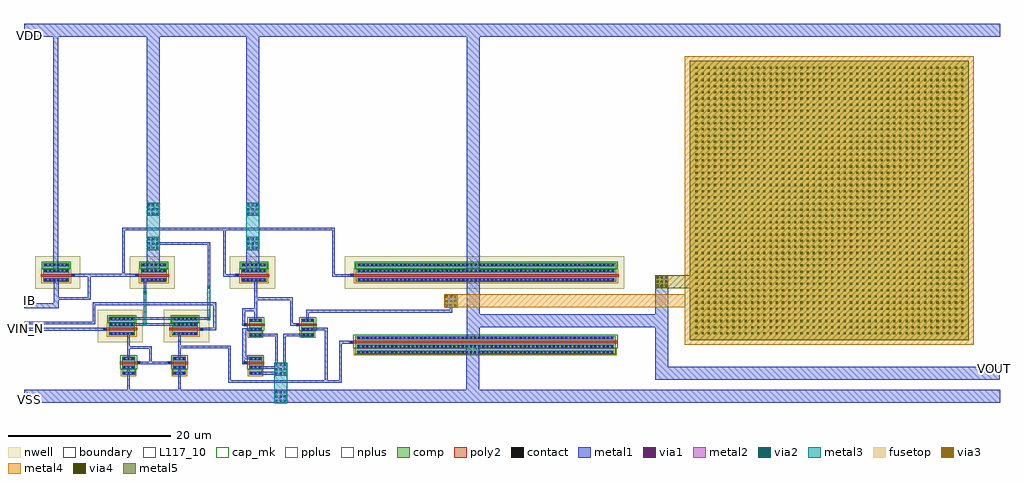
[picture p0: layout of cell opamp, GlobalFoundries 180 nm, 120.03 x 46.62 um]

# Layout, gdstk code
from math import pi, radians
import gdstk
lib = gdstk.Library(unit=1e-6, precision=1e-09)
def R(c, l, rs):  # rectangles x0, y0, x1, y1
    for r in rs: c.add(gdstk.rectangle(r[:2], r[2:], *l))
def A(c, l, x, y, w, h, nx, ny, dx, dy):  # array of equal rectangles
    R(c, l, [(x+i*dx, y+j*dy, x+i*dx+w, y+j*dy+h) for i in range(nx) for j in range(ny)])
def P(c, l, *ps):  # polygons
    for p in ps: c.add(gdstk.Polygon(p, *l))
boundary = (0, 0)
nwell = (21, 0)
comp = (22, 0)
poly2 = (30, 0)
pplus = (31, 0)
nplus = (32, 0)
contact = (33, 0)
metal1 = (34, 0)
via1 = (35, 0)
metal2 = (36, 0)
via2 = (38, 0)
via3 = (40, 0)
via4 = (41, 0)
metal3 = (42, 0)
metal4 = (46, 0)
fusetop = (75, 0)
metal5 = (81, 0)
cap_mk = (117, 5)
L117_10 = (117, 10)

cap_mim = lib.new_cell('cap_mim')
A(cap_mim, via4, 0.69, 0.69, 0.26, 0.26, 44, 44, 0.76, 0.76)
R(cap_mim, metal4, [(-0.6,-0.6,34.92,34.92)])
R(cap_mim, fusetop, [(0,0,34.32,34.32)])
R(cap_mim, metal5, [(0,0,34.32,34.32)])
R(cap_mim, cap_mk, [(-0.6,-0.6,34.92,34.92)])
R(cap_mim, L117_10, [(0,0,34.32,0.1)])

nfet_1 = lib.new_cell('nfet$1')
R(nfet_1, comp, [(-0.42,0,1.79,1.6)])
P(nfet_1, poly2, [(0.19,-0.3),(0.19,1.9),(0.15,1.9),(0.15,2.26),(0.51,2.26),(0.51,1.9),(0.47,1.9),(0.47,-0.3)])
R(nfet_1, pplus, [(1.08,-0.17,1.96,1.77)])
R(nfet_1, nplus, [(-0.59,-0.24,1.08,1.84)])
A(nfet_1, contact, -0.32, 0.18, 0.22, 0.22, 1, 3, 0, 0.51)
A(nfet_1, contact, 0.76, 0.18, 0.22, 0.22, 1, 3, 0, 0.51)
A(nfet_1, contact, 1.47, 0.18, 0.22, 0.22, 1, 3, 0, 0.51)
R(nfet_1, contact, [(0.22,1.97,0.44,2.19)])
R(nfet_1, metal1, [(-0.4,0.1,-0.02,1.5), (0.68,0.1,1.06,1.5), (1.39,0.1,1.77,1.5), (0.14,1.89,0.52,2.27)])

nfet_2 = lib.new_cell('nfet$2')
R(nfet_2, comp, [(-0.42,0,1.79,1.6)])
P(nfet_2, poly2, [(0.15,-0.66),(0.15,-0.3),(0.19,-0.3),(0.19,1.9),(0.47,1.9),(0.47,-0.3),(0.51,-0.3),(0.51,-0.66)])
R(nfet_2, pplus, [(1.08,-0.17,1.96,1.77)])
R(nfet_2, nplus, [(-0.59,-0.24,1.08,1.84)])
A(nfet_2, contact, -0.32, 0.18, 0.22, 0.22, 1, 3, 0, 0.51)
A(nfet_2, contact, 0.76, 0.18, 0.22, 0.22, 1, 3, 0, 0.51)
A(nfet_2, contact, 1.47, 0.18, 0.22, 0.22, 1, 3, 0, 0.51)
R(nfet_2, contact, [(0.22,-0.59,0.44,-0.37)])
R(nfet_2, metal1, [(0.14,-0.67,0.52,-0.29), (-0.4,0.1,-0.02,1.5), (0.68,0.1,1.06,1.5), (1.39,0.1,1.77,1.5)])

pfet_1 = lib.new_cell('pfet$1')
R(pfet_1, nwell, [(-1.32,-0.99,2.71,4.57)])
R(pfet_1, comp, [(-0.46,0,1.85,3.2)])
P(pfet_1, poly2, [(0.19,-0.3),(0.19,3.5),(0.14,3.5),(0.14,3.88),(0.52,3.88),(0.52,3.5),(0.47,3.5),(0.47,-0.3)])
R(pfet_1, pplus, [(-0.63,-0.24,1.12,3.44)])
R(pfet_1, nplus, [(1.12,-0.17,2.02,3.37)])
A(pfet_1, contact, -0.34, 0.215, 0.22, 0.22, 1, 6, 0, 0.51)
A(pfet_1, contact, 0.78, 0.215, 0.22, 0.22, 1, 6, 0, 0.51)
A(pfet_1, contact, 1.51, 0.215, 0.22, 0.22, 1, 6, 0, 0.51)
R(pfet_1, contact, [(0.22,3.58,0.44,3.8)])
R(pfet_1, metal1, [(-0.42,0.135,-0.04,3.065), (0.7,0.135,1.08,3.065), (1.43,0.135,1.81,3.065), (0.14,3.5,0.52,3.88)])

pfet_2 = lib.new_cell('pfet$2')
R(pfet_2, nwell, [(-1.32,-1.37,2.71,4.19)])
R(pfet_2, comp, [(-0.46,0,1.85,3.2)])
P(pfet_2, poly2, [(0.14,-0.68),(0.14,-0.3),(0.19,-0.3),(0.19,3.5),(0.47,3.5),(0.47,-0.3),(0.52,-0.3),(0.52,-0.68)])
R(pfet_2, pplus, [(-0.63,-0.24,1.12,3.44)])
R(pfet_2, nplus, [(1.12,-0.17,2.02,3.37)])
A(pfet_2, contact, -0.34, 0.215, 0.22, 0.22, 1, 6, 0, 0.51)
A(pfet_2, contact, 0.78, 0.215, 0.22, 0.22, 1, 6, 0, 0.51)
A(pfet_2, contact, 1.51, 0.215, 0.22, 0.22, 1, 6, 0, 0.51)
R(pfet_2, contact, [(0.22,-0.6,0.44,-0.38)])
R(pfet_2, metal1, [(0.14,-0.68,0.52,-0.3), (-0.42,0.135,-0.04,3.065), (0.7,0.135,1.08,3.065), (1.43,0.135,1.81,3.065)])

nfet_3 = lib.new_cell('nfet$3')
R(nfet_3, comp, [(-0.42,0,1.79,32)])
P(nfet_3, poly2, [(0.15,-0.66),(0.15,-0.3),(0.19,-0.3),(0.19,32.3),(0.47,32.3),(0.47,-0.3),(0.51,-0.3),(0.51,-0.66)])
R(nfet_3, pplus, [(1.08,-0.17,1.96,32.17)])
R(nfet_3, nplus, [(-0.59,-0.24,1.08,32.24)])
A(nfet_3, contact, -0.32, 0.335, 0.22, 0.22, 1, 62, 0, 0.51)
A(nfet_3, contact, 0.76, 0.335, 0.22, 0.22, 1, 62, 0, 0.51)
A(nfet_3, contact, 1.47, 0.335, 0.22, 0.22, 1, 62, 0, 0.51)
R(nfet_3, contact, [(0.22,-0.59,0.44,-0.37)])
R(nfet_3, metal1, [(0.14,-0.67,0.52,-0.29), (-0.4,0.255,-0.02,31.745), (0.68,0.255,1.06,31.745), (1.39,0.255,1.77,31.745)])

pfet_3 = lib.new_cell('pfet$3')
R(pfet_3, nwell, [(-1.32,-0.99,2.71,33.37)])
R(pfet_3, comp, [(-0.46,0,1.85,32)])
P(pfet_3, poly2, [(0.19,-0.3),(0.19,32.3),(0.14,32.3),(0.14,32.68),(0.52,32.68),(0.52,32.3),(0.47,32.3),(0.47,-0.3)])
R(pfet_3, pplus, [(-0.63,-0.24,1.12,32.24)])
R(pfet_3, nplus, [(1.12,-0.17,2.02,32.17)])
A(pfet_3, contact, -0.34, 0.335, 0.22, 0.22, 1, 62, 0, 0.51)
A(pfet_3, contact, 0.78, 0.335, 0.22, 0.22, 1, 62, 0, 0.51)
A(pfet_3, contact, 1.51, 0.335, 0.22, 0.22, 1, 62, 0, 0.51)
R(pfet_3, contact, [(0.22,32.38,0.44,32.6)])
R(pfet_3, metal1, [(-0.42,0.255,-0.04,31.745), (0.7,0.255,1.08,31.745), (1.43,0.255,1.81,31.745), (0.14,32.3,0.52,32.68)])

via_dev_4 = lib.new_cell('via_dev$4')
R(via_dev_4, metal1, [(0,0,0.4,0.4)])
R(via_dev_4, via1, [(0.07,0.07,0.33,0.33)])
R(via_dev_4, metal2, [(0,0,0.4,0.4)])
R(via_dev_4, via2, [(0.07,0.07,0.33,0.33)])
R(via_dev_4, metal3, [(0,0,0.4,0.4)])

via_dev_2 = lib.new_cell('via_dev$2')
R(via_dev_2, metal1, [(0,0,1.6,1.6)])
A(via_dev_2, via1, 0.14, 0.14, 0.26, 0.26, 3, 3, 0.53, 0.53)
R(via_dev_2, metal2, [(0,0,1.6,1.6)])
A(via_dev_2, via2, 0.14, 0.14, 0.26, 0.26, 3, 3, 0.53, 0.53)
R(via_dev_2, metal3, [(0,0,1.6,1.6)])

via_dev_6 = lib.new_cell('via_dev$6')
R(via_dev_6, metal1, [(0,0,1.6,1.6)])
A(via_dev_6, via1, 0.14, 0.14, 0.26, 0.26, 3, 3, 0.53, 0.53)
R(via_dev_6, metal2, [(0,0,1.6,1.6)])
A(via_dev_6, via2, 0.14, 0.14, 0.26, 0.26, 3, 3, 0.53, 0.53)
A(via_dev_6, via3, 0.14, 0.14, 0.26, 0.26, 3, 3, 0.53, 0.53)
R(via_dev_6, metal3, [(0,0,1.6,1.6)])
R(via_dev_6, metal4, [(0,0,1.6,1.6)])

via_dev_7 = lib.new_cell('via_dev$7')
R(via_dev_7, metal1, [(0,0,1.6,1.6)])
A(via_dev_7, via1, 0.14, 0.14, 0.26, 0.26, 3, 3, 0.53, 0.53)
R(via_dev_7, metal2, [(0,0,1.6,1.6)])
A(via_dev_7, via2, 0.14, 0.14, 0.26, 0.26, 3, 3, 0.53, 0.53)
A(via_dev_7, via3, 0.14, 0.14, 0.26, 0.26, 3, 3, 0.53, 0.53)
A(via_dev_7, via4, 0.14, 0.14, 0.26, 0.26, 3, 3, 0.53, 0.53)
R(via_dev_7, metal3, [(0,0,1.6,1.6)])
R(via_dev_7, metal4, [(0,0,1.6,1.6)])
R(via_dev_7, metal5, [(0,0,1.6,1.6)])

opamp = lib.new_cell('opamp')
P(opamp, boundary, [(-0.03,-0.14),(-0.03,-0.14),(-0.03,-0.14),(-0.03,-0.14)])
R(opamp, metal1, [(26.795,4.54,28.041,4.86), (26.82,4.61,27.29,8.4), (26.82,8.15,28.12,8.4)])
opamp.add(gdstk.FlexPath([(34.84,9.22),(34.84,10.47),(51,10.47)], 0.33, ends="flush", simple_path=True, layer=34, datatype=0))  # metal1
opamp.add(gdstk.FlexPath([(50.87,10.46),(52.49,10.46),(52.49,11.61)], 0.33, ends="flush", simple_path=True, layer=34, datatype=0))  # metal1
opamp.add(gdstk.FlexPath([(27.16,4.09),(26.96,4.09),(26.96,4.61)], 0.33, ends="flush", simple_path=True, layer=34, datatype=0))  # metal1
opamp.add(gdstk.FlexPath([(24.61,20.59),(38.02,20.59),(38.02,14.88),(40.35,14.88)], 0.33, ends="flush", simple_path=True, layer=34, datatype=0))  # metal1
opamp.add(gdstk.FlexPath([(15.84,18.8),(15.84,15.43)], 1.6, ends="flush", simple_path=True, layer=34, datatype=0))  # metal1
opamp.add(gdstk.FlexPath([(15.84,22.99),(15.84,45.01)], 1.6, ends="flush", simple_path=True, layer=34, datatype=0))  # metal1
opamp.add(gdstk.FlexPath([(28.08,22.99),(28.08,45.01)], 1.6, ends="flush", simple_path=True, layer=34, datatype=0))  # metal1
opamp.add(gdstk.FlexPath([(55.19,15.44),(55.19,45.03)], 1.6, ends="flush", simple_path=True, layer=34, datatype=0))  # metal1
opamp.add(gdstk.FlexPath([(55.17,6.11),(55.17,-0.04)], 1.6, ends="flush", simple_path=True, layer=34, datatype=0))  # metal1
opamp.add(gdstk.FlexPath([(55.19,14.31),(55.19,7.2)], 1.6, ends="flush", simple_path=True, layer=34, datatype=0))  # metal1
opamp.add(gdstk.FlexPath([(55.19,9.3),(78.43,9.3),(78.43,2.86),(119.99,2.86)], 1.6, ends="flush", simple_path=True, layer=34, datatype=0))  # metal1
opamp.add(gdstk.FlexPath([(78.42,8.8),(78.42,14.1)], 1.6, ends="flush", simple_path=True, layer=34, datatype=0))  # metal1
opamp.add(gdstk.FlexPath([(28.09,18.24),(28.09,15.46)], 1.6, ends="flush", simple_path=True, layer=34, datatype=0))  # metal1
opamp.add(gdstk.FlexPath([(13.29,9.58),(22.7,9.58)], 0.33, ends="flush", simple_path=True, layer=34, datatype=0))  # metal1
opamp.add(gdstk.FlexPath([(22.74,13.41),(22.74,18.81),(15.8,18.81)], 0.33, ends="flush", simple_path=True, layer=34, datatype=0))  # metal1
opamp.add(gdstk.FlexPath([(19.01,6.06),(25.23,6.06),(25.23,1.81),(38.89,1.81),(38.89,6.66),(40.26,6.66)], 0.33, ends="flush", simple_path=True, layer=34, datatype=0))  # metal1
opamp.add(gdstk.FlexPath([(28.45,3.565),(31.21,3.565)], 0.33, ends="flush", simple_path=True, layer=34, datatype=0))  # metal1
opamp.add(gdstk.FlexPath([(28.46,2.85),(31.24,2.85)], 0.33, ends="flush", simple_path=True, layer=34, datatype=0))  # metal1
opamp.add(gdstk.FlexPath([(28.46,9.35),(28.46,14.33)], 0.33, ends="flush", simple_path=True, layer=34, datatype=0))  # metal1
opamp.add(gdstk.FlexPath([(27.15,8.84),(26.99,8.84),(26.99,10.65),(28.47,10.65)], 0.33, ends="flush", simple_path=True, layer=34, datatype=0))  # metal1
opamp.add(gdstk.FlexPath([(28.48,12.01),(32.86,12.01),(32.86,8.82),(33.65,8.82)], 0.33, ends="flush", simple_path=True, layer=34, datatype=0))  # metal1
opamp.add(gdstk.FlexPath([(12.19,14.92),(12.19,20.59),(24.61,20.59),(24.61,14.86),(26.2,14.86)], 0.33, ends="flush", simple_path=True, layer=34, datatype=0))  # metal1
opamp.add(gdstk.FlexPath([(28.96,7.56),(31.04,7.56),(31.04,3.57)], 0.33, ends="flush", simple_path=True, layer=34, datatype=0))  # metal1
opamp.add(gdstk.FlexPath([(34.38,7.54),(32,7.54),(32,3.8)], 0.33, ends="flush", simple_path=True, layer=34, datatype=0))  # metal1
opamp.add(gdstk.FlexPath([(35.38,8.27),(37.15,8.27),(37.15,1.74)], 0.33, ends="flush", simple_path=True, layer=34, datatype=0))  # metal1
opamp.add(gdstk.FlexPath([(3.89,15.43),(3.89,44.98)], 0.6, ends="flush", simple_path=True, layer=34, datatype=0))  # metal1
opamp.add(gdstk.FlexPath([(3.93,14.33),(3.93,11.16),(0,11.16)], 0.6, ends="flush", simple_path=True, layer=34, datatype=0))  # metal1
opamp.add(gdstk.FlexPath([(0,0),(120,0)], 1.6, ends="flush", simple_path=True, layer=34, datatype=0))  # metal1
opamp.add(gdstk.FlexPath([(0,45),(120,45)], 1.6, ends="flush", simple_path=True, layer=34, datatype=0))  # metal1
opamp.add(gdstk.FlexPath([(13.84,14.89),(6.01,14.89)], 0.33, ends="flush", simple_path=True, layer=34, datatype=0))  # metal1
opamp.add(gdstk.FlexPath([(21.86,8.29),(23.43,8.29),(23.43,11.38),(8.59,11.38),(8.59,9.01),(0,9.01)], 0.33, ends="flush", simple_path=True, layer=34, datatype=0))  # metal1
opamp.add(gdstk.FlexPath([(13.19,8.85),(18.54,8.85)], 0.33, ends="flush", simple_path=True, layer=34, datatype=0))  # metal1
opamp.add(gdstk.FlexPath([(3.93,12.04),(7.99,12.04),(7.99,14.87)], 0.33, ends="flush", simple_path=True, layer=34, datatype=0))  # metal1
opamp.add(gdstk.FlexPath([(12.84,7.72),(12.84,4.65)], 0.33, ends="flush", simple_path=True, layer=34, datatype=0))  # metal1
opamp.add(gdstk.FlexPath([(19.09,4.66),(19.09,7.69)], 0.33, ends="flush", simple_path=True, layer=34, datatype=0))  # metal1
opamp.add(gdstk.FlexPath([(12.83,3.57),(12.83,-0.04)], 0.33, ends="flush", simple_path=True, layer=34, datatype=0))  # metal1
opamp.add(gdstk.FlexPath([(19.09,3.52),(19.09,0.02)], 0.33, ends="flush", simple_path=True, layer=34, datatype=0))  # metal1
opamp.add(gdstk.FlexPath([(14.12,4.12),(17.81,4.12)], 0.33, ends="flush", simple_path=True, layer=34, datatype=0))  # metal1
opamp.add(gdstk.FlexPath([(12.82,6.01),(15.52,6.01),(15.52,4.12)], 0.33, ends="flush", simple_path=True, layer=34, datatype=0))  # metal1
opamp.add(gdstk.FlexPath([(9.87,8.26),(0,8.26)], 0.33, ends="flush", simple_path=True, layer=34, datatype=0))  # metal1
opamp.add(gdstk.FlexPath([(14.86,12.77),(14.86,14.33)], 0.33, ends="flush", simple_path=True, layer=34, datatype=0))  # metal1
opamp.add(gdstk.FlexPath([(15.84,18.8),(15.84,23.11)], 1.6, ends="flush", simple_path=True, layer=42, datatype=0))  # metal3
opamp.add(gdstk.FlexPath([(28.08,18.8),(28.08,23.11)], 1.6, ends="flush", simple_path=True, layer=42, datatype=0))  # metal3
opamp.add(gdstk.FlexPath([(22.69,13.47),(22.69,9.51)], 0.33, ends="flush", simple_path=True, layer=42, datatype=0))  # metal3
opamp.add(gdstk.FlexPath([(31.54,-0.03),(31.54,3.48)], 1.6, ends="flush", simple_path=True, layer=42, datatype=0))  # metal3
opamp.add(gdstk.FlexPath([(14.86,12.8),(14.86,8.84)], 0.33, ends="flush", simple_path=True, layer=42, datatype=0))  # metal3
opamp.add(gdstk.FlexPath([(83,11.74),(51.67,11.74)], 1.6, ends="flush", simple_path=True, layer=46, datatype=0))  # metal4
opamp.add(gdstk.FlexPath([(78.41,14.09),(83,14.09)], 1.6, ends="flush", simple_path=True, layer=81, datatype=0))  # metal5
opamp.add(gdstk.Reference(cap_mim, (81.85,6.93)))
opamp.add(gdstk.Reference(nfet_1, (12.03,4.44), rotation=3*pi/2))
opamp.add(gdstk.Reference(nfet_2, (18.291,4.44), rotation=3*pi/2))
opamp.add(gdstk.Reference(pfet_1, (13.58,7.95), rotation=pi/2))
opamp.add(gdstk.Reference(pfet_2, (21.36,7.95), rotation=pi/2))
opamp.add(gdstk.Reference(nfet_2, (27.641,4.44), rotation=3*pi/2))
opamp.add(gdstk.Reference(nfet_2, (27.651,9.15), rotation=3*pi/2))
opamp.add(gdstk.Reference(nfet_2, (34.081,9.15), rotation=3*pi/2))
opamp.add(gdstk.Reference(nfet_3, (40.721,7), rotation=3*pi/2))
opamp.add(gdstk.Reference(pfet_3, (72.79,14.55), rotation=pi/2))
opamp.add(gdstk.Reference(pfet_2, (5.54,14.55), rotation=pi/2))
opamp.add(gdstk.Reference(pfet_1, (17.52,14.55), rotation=pi/2))
opamp.add(gdstk.Reference(pfet_1, (29.86,14.55), rotation=pi/2))
opamp.add(gdstk.Reference(via_dev_4, (14.66,8.68)))
opamp.add(gdstk.Reference(via_dev_4, (14.66,12.58)))
opamp.add(gdstk.Reference(via_dev_2, (30.73,-0.82)))
opamp.add(gdstk.Reference(via_dev_2, (30.73,2.54)))
opamp.add(gdstk.Reference(via_dev_2, (15.04,18)))
opamp.add(gdstk.Reference(via_dev_2, (15.04,22.21)))
opamp.add(gdstk.Reference(via_dev_2, (27.28,18)))
opamp.add(gdstk.Reference(via_dev_2, (27.28,22.21)))
opamp.add(gdstk.Reference(via_dev_6, (51.69,10.92)))
opamp.add(gdstk.Reference(via_dev_7, (77.62,13.32)))
opamp.add(gdstk.Reference(via_dev_4, (22.49,9.35)))
opamp.add(gdstk.Reference(via_dev_4, (22.49,13.25)))
opamp.add(gdstk.Label('VOUT', (119.36,3.44), layer=34, texttype=10))
opamp.add(gdstk.Label('VIN_N', (0.13,8.37), layer=34, texttype=10))
opamp.add(gdstk.Label('VIN_P', (0.13,9.14), layer=34, texttype=10))
opamp.add(gdstk.Label('VSS', (0.68,-0.43), layer=34, texttype=10))
opamp.add(gdstk.Label('VDD', (0.68,44.38), layer=34, texttype=10))
opamp.add(gdstk.Label('IB', (0.675,11.815), layer=34, texttype=10))
opamp.add(gdstk.Label('VSS', (0.68,-0.43), layer=34, texttype=10))

lib.write_gds('opamp.gds')
